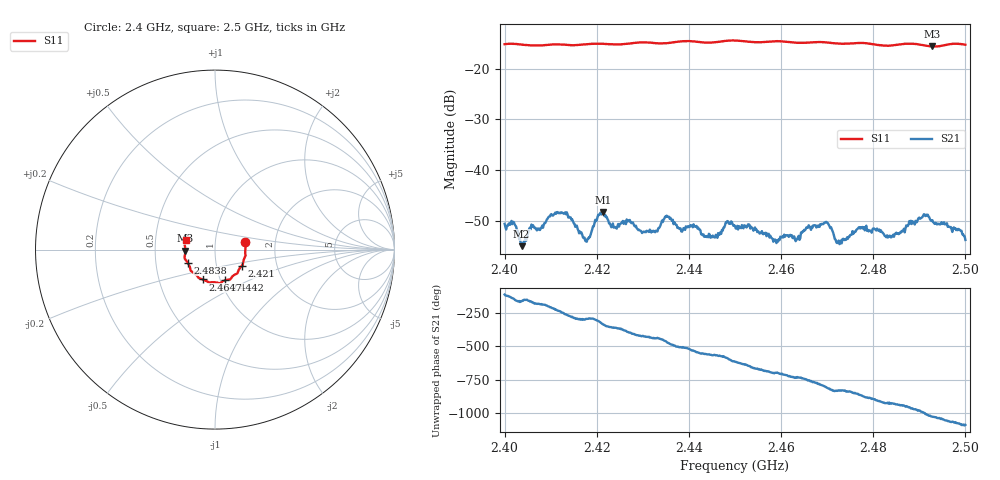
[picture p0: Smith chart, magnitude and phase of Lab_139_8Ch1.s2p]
# Hz S RI R 50
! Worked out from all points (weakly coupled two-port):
!   601 points, 2.4 GHz to 2.5 GHz, reference 50 ohm
!   highest |S21| = -48.17 dB at 2.4213 GHz (marker M1); lowest = -54.9 dB at 2.4037 GHz (marker M2)
!   lowest |S11| = -15.7 dB at 2.4928 GHz (marker M3), VSWR 1.40, Z = 35.8 - j0.407 ohm
!   |S11| at or under -10 dB: start of sweep to end of sweep
!   S12 and S22 are empty: the file has one direction only
!   S11 on the Smith chart (normalised r, x): 2.4 GHz: 1.40, +0.12; 2.421 GHz: 1.33, -0.24; 2.4442 GHz: 1.05, -0.37; 2.4647 GHz: 0.83, -0.28; 2.4838 GHz: 0.73, -0.11; 2.5 GHz: 0.71, +0.08
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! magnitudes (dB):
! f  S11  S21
! 2.4 GHz  -15.2  -50.5
! 2.402 GHz  -15.1  -50.2
! 2.4037 GHz  -15.3  -54.9
! 2.4115 GHz  -15.2  -48.2
! 2.4167 GHz  -15.3  -52.2
! 2.418 GHz  -15.2  -53.5
! 2.421 GHz  -15.1  -48.7
! 2.4213 GHz  -15.1  -48.2
! 2.4333 GHz  -15.0  -51.4
! 2.4353 GHz  -15.0  -49.1
! 2.4442 GHz  -14.9  -53.2
! 2.45 GHz  -14.5  -51.0
! 2.4588 GHz  -14.6  -53.7
! 2.4647 GHz  -14.9  -52.0
! 2.4667 GHz  -14.8  -51.0
! 2.4698 GHz  -14.8  -50.1
! 2.4727 GHz  -15.1  -54.5
! 2.4772 GHz  -14.9  -51.4
! 2.4833 GHz  -15.5  -53.1
! 2.4838 GHz  -15.5  -53.2
! 2.4928 GHz  -15.7  -49.8
! 2.5 GHz  -15.3  -53.7
